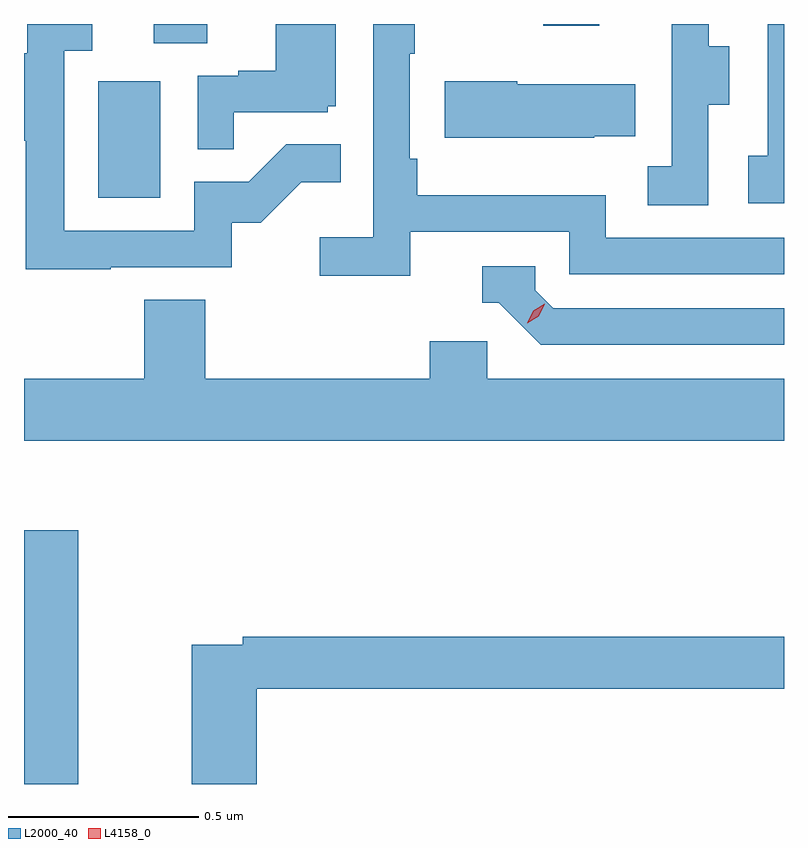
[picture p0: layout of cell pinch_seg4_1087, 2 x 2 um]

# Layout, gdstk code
import gdstk
lib = gdstk.Library(unit=1e-6, precision=1e-09)
def R(c, l, rs):  # rectangles x0, y0, x1, y1
    for r in rs: c.add(gdstk.rectangle(r[:2], r[2:], *l))
def P(c, l, *ps):  # polygons
    for p in ps: c.add(gdstk.Polygon(p, *l))
L2000_40 = (2000, 40)
L4158_0 = (4158, 0)

pinch_seg4_1087 = lib.new_cell('pinch_seg4_1087')
R(pinch_seg4_1087, L2000_40, [(836.675,766.613,836.818,767.281), (836.87,768.156,837.034,768.463), (837.017,768.562,837.157,768.613), (838.042,768.609,838.189,768.613)])
P(pinch_seg4_1087, L2000_40, [(838.476,768.4),(838.531,768.4),(838.531,768.555),(838.477,768.555),(838.477,768.613),(838.379,768.613),(838.379,768.543),(838.38,768.543),(838.38,768.239),(838.317,768.239),(838.317,768.136),(838.476,768.136)],
  [(838.675,768.613),(838.632,768.613),(838.632,768.266),(838.581,768.266),(838.581,768.141),(838.675,768.141)],
  [(837.227,768.381),(837.474,768.381),(837.474,768.396),(837.496,768.396),(837.496,768.613),(837.338,768.613),(837.338,768.49),(837.239,768.49),(837.239,768.477),(837.132,768.477),(837.132,768.283),(837.227,768.283)],
  [(837.692,768.066),(838.11,768.066),(838.11,767.955),(838.675,767.955),(838.675,768.051),(838.206,768.051),(838.206,768.163),(837.71,768.163),(837.71,768.259),(837.69,768.259),(837.69,768.535),(837.703,768.535),(837.703,768.613),(837.594,768.613),(837.594,768.052),(837.453,768.052),(837.453,767.95),(837.692,767.95)],
  [(836.903,767.973),(837.222,767.973),(837.222,768.09),(837.298,768.09),(837.405,768.197),(837.509,768.197),(837.509,768.296),(837.365,768.296),(837.267,768.198),(837.123,768.198),(837.123,768.069),(836.781,768.069),(836.781,768.543),(836.854,768.543),(836.854,768.613),(836.684,768.613),(836.684,768.536),(836.675,768.536),(836.675,768.306),(836.68,768.306),(836.68,767.968),(836.903,767.968)],
  [(838.175,768.317),(838.283,768.317),(838.283,768.454),(837.973,768.454),(837.973,768.462),(837.782,768.462),(837.782,768.314),(838.175,768.314)],
  [(838.675,767.865),(838.068,767.865),(838.02,767.913),(838.02,767.976),(837.881,767.976),(837.881,767.88),(837.924,767.88),(838.035,767.769),(838.675,767.769)],
  [(838.675,767.68),(837.894,767.68),(837.894,767.778),(837.743,767.778),(837.743,767.68),(837.152,767.68),(837.152,767.888),(836.992,767.888),(836.992,767.68),(836.675,767.68),(836.675,767.516),(838.675,767.516)],
  [(837.287,766.864),(838.675,766.864),(838.675,767),(837.25,767),(837.25,766.98),(837.116,766.98),(837.116,766.613),(837.287,766.613)])
P(pinch_seg4_1087, L4158_0, [(837.999,767.825),(837.999,767.825),(838.015,767.858),(838.046,767.877),(838.046,767.877),(838.046,767.877),(838.03,767.844),(837.999,767.825)])

lib.write_gds('pinch_seg4_1087.gds')
